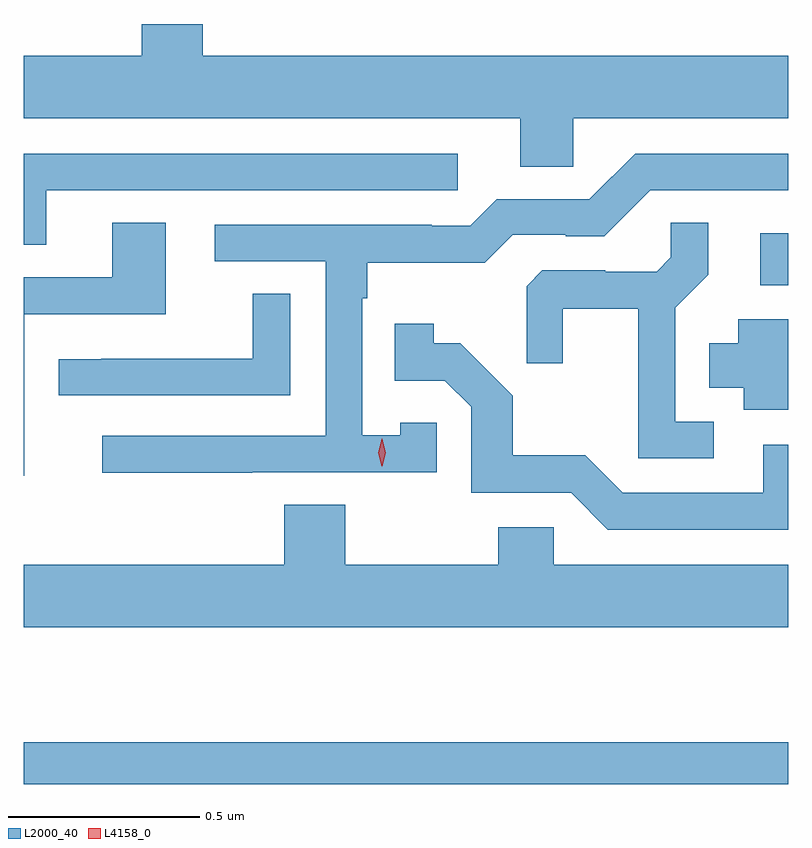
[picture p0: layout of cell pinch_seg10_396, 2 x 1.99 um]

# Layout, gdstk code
import gdstk
lib = gdstk.Library(unit=1e-6, precision=1e-09)
def R(c, l, rs):  # rectangles x0, y0, x1, y1
    for r in rs: c.add(gdstk.rectangle(r[:2], r[2:], *l))
def P(c, l, *ps):  # polygons
    for p in ps: c.add(gdstk.Polygon(p, *l))
L2000_40 = (2000, 40)
L4158_0 = (4158, 0)

pinch_seg10_396 = lib.new_cell('pinch_seg10_396')
R(pinch_seg10_396, L2000_40, [(544.184,1266.606,546.184,1266.715), (546.111,1267.911,546.184,1268.047)])
P(pinch_seg10_396, L2000_40, [(545.622,1268.348),(546.184,1268.348),(546.184,1268.512),(544.652,1268.512),(544.652,1268.595),(544.492,1268.595),(544.492,1268.512),(544.184,1268.512),(544.184,1268.348),(545.483,1268.348),(545.483,1268.221),(545.622,1268.221)],
  [(544.243,1268.16),(545.32,1268.16),(545.32,1268.256),(544.184,1268.256),(544.184,1268.017),(544.243,1268.017)],
  [(544.781,1267.422),(545.265,1267.422),(545.265,1267.551),(545.169,1267.551),(545.169,1267.519),(545.07,1267.519),(545.07,1267.877),(545.083,1267.877),(545.083,1267.97),(545.39,1267.97),(545.463,1268.043),(545.602,1268.043),(545.602,1268.04),(545.703,1268.04),(545.823,1268.16),(546.184,1268.16),(546.184,1268.256),(545.784,1268.256),(545.664,1268.136),(545.421,1268.136),(545.352,1268.067),(545.252,1268.067),(545.252,1268.07),(544.683,1268.07),(544.683,1267.974),(544.974,1267.974),(544.974,1267.518),(544.389,1267.518),(544.389,1267.42),(544.781,1267.42)],
  [(545.989,1267.554),(545.889,1267.554),(545.889,1267.853),(545.975,1267.939),(545.975,1268.075),(545.877,1268.075),(545.877,1267.984),(545.84,1267.947),(545.706,1267.947),(545.706,1267.95),(545.541,1267.95),(545.5,1267.909),(545.5,1267.707),(545.594,1267.707),(545.594,1267.85),(545.792,1267.85),(545.792,1267.458),(545.989,1267.458)],
  [(544.185,1267.836),(544.555,1267.836),(544.555,1268.075),(544.415,1268.075),(544.415,1267.932),(544.184,1267.932),(544.184,1267.413),(544.185,1267.413)],
  [(544.881,1267.889),(544.783,1267.889),(544.783,1267.719),(544.387,1267.719),(544.387,1267.718),(544.275,1267.718),(544.275,1267.623),(544.881,1267.623)],
  [(546.184,1267.822),(546.053,1267.822),(546.053,1267.759),(545.978,1267.759),(545.978,1267.643),(546.068,1267.643),(546.068,1267.586),(546.184,1267.586)],
  [(546.184,1267.494),(546.119,1267.494),(546.119,1267.368),(545.751,1267.368),(545.653,1267.467),(545.464,1267.467),(545.464,1267.622),(545.326,1267.76),(545.256,1267.76),(545.256,1267.81),(545.155,1267.81),(545.155,1267.662),(545.286,1267.662),(545.355,1267.593),(545.355,1267.368),(545.616,1267.368),(545.712,1267.272),(546.184,1267.272)],
  [(546.184,1267.18),(545.571,1267.18),(545.571,1267.278),(545.425,1267.278),(545.425,1267.18),(545.025,1267.18),(545.025,1267.337),(544.865,1267.337),(544.865,1267.18),(544.184,1267.18),(544.184,1267.016),(546.184,1267.016)])
P(pinch_seg10_396, L4158_0, [(545.121,1267.437),(545.121,1267.437),(545.111,1267.473),(545.121,1267.509),(545.121,1267.51),(545.122,1267.509),(545.131,1267.473),(545.122,1267.437)])

lib.write_gds('pinch_seg10_396.gds')
